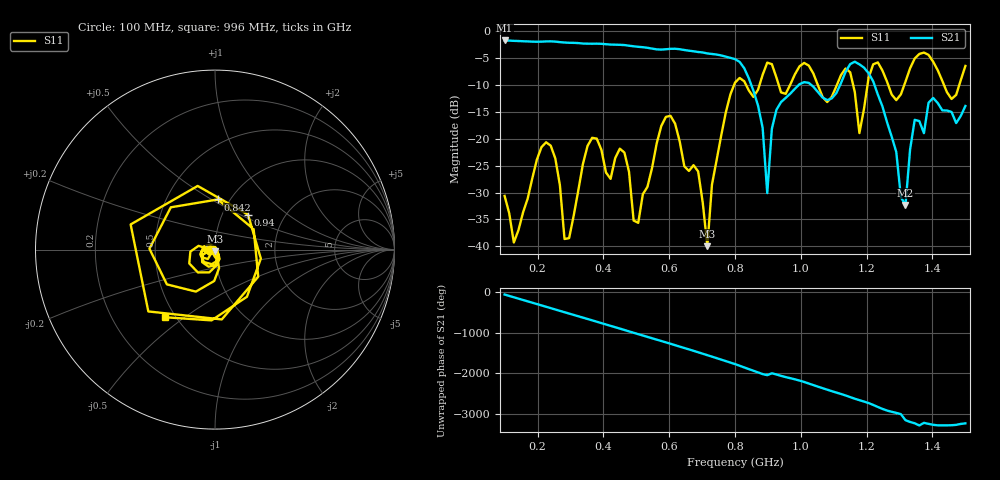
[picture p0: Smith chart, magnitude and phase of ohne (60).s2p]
! NanoVNA-App
! Date: 2025-09-26 09:55:51
! Start: 100MHz Stop: 1,5GHz Points: 101
! S-Parameter data: F S11 S21 S12 S22
# Hz S RI R 50
!  Frequency  S11_Real  S11_Imag  S21_Real  S21_Imag  S12_Real  S12_Imag  S22_Real  S22_Imag
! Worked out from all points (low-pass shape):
!   101 points, 100 MHz to 1.5 GHz, reference 50 ohm
!   highest |S21| = -1.79 dB at 100 MHz (marker M1); lowest = -32.3 dB at 1.318 GHz (marker M2)
!   |S21| within 3 dB of the highest: start of sweep to 771.8 MHz
!   lowest |S11| = -40.0 dB at 716 MHz (marker M3), VSWR 1.02, Z = 49.8 - j0.985 ohm
!   |S11| at or under -10 dB: start of sweep to 797.5 MHz; 833.3 MHz to 874.7 MHz (41.38 MHz wide, 4.85 % of centre); 1.051 GHz to 1.11 GHz (58.58 MHz wide, 5.42 % of centre) (the widest 3 of 7)
!   S12 and S22 are empty: the file has one direction only
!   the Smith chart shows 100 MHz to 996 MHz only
!   S11 on the Smith chart (normalised r, x): 100 MHz: 0.94, -0.01; 842 MHz: 0.88, +0.53; 940 MHz: 1.32, +0.55; 996 MHz: 0.44, -0.42
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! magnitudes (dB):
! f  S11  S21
! 100 MHz  -30.6  -1.8
! 128 MHz  -39.3  -1.9
! 226 MHz  -20.7  -2.0
! 296 MHz  -38.5  -2.2
! 338 MHz  -24.7  -2.4
! 464 MHz  -22.6  -2.6
! 506 MHz  -35.6  -3.0
! 576 MHz  -17.7  -3.5
! 688 MHz  -26.1  -3.9
! 716 MHz  -40.0  -4.2
! 800 MHz  -9.6  -5.3
! 842 MHz  -11.1  -8.8
! 898 MHz  -5.9  -30.1
! 940 MHz  -11.4  -13.2
! 996 MHz  -6.6  -9.9
! 1.038 GHz  -7.9  -10.4
! 1.178 GHz  -19.0  -6.2
! 1.22 GHz  -6.2  -9.4
! 1.276 GHz  -11.8  -19.6
! 1.318 GHz  -9.4  -32.3
! 1.346 GHz  -5.1  -16.5
! 1.5 GHz  -6.5  -13.9
